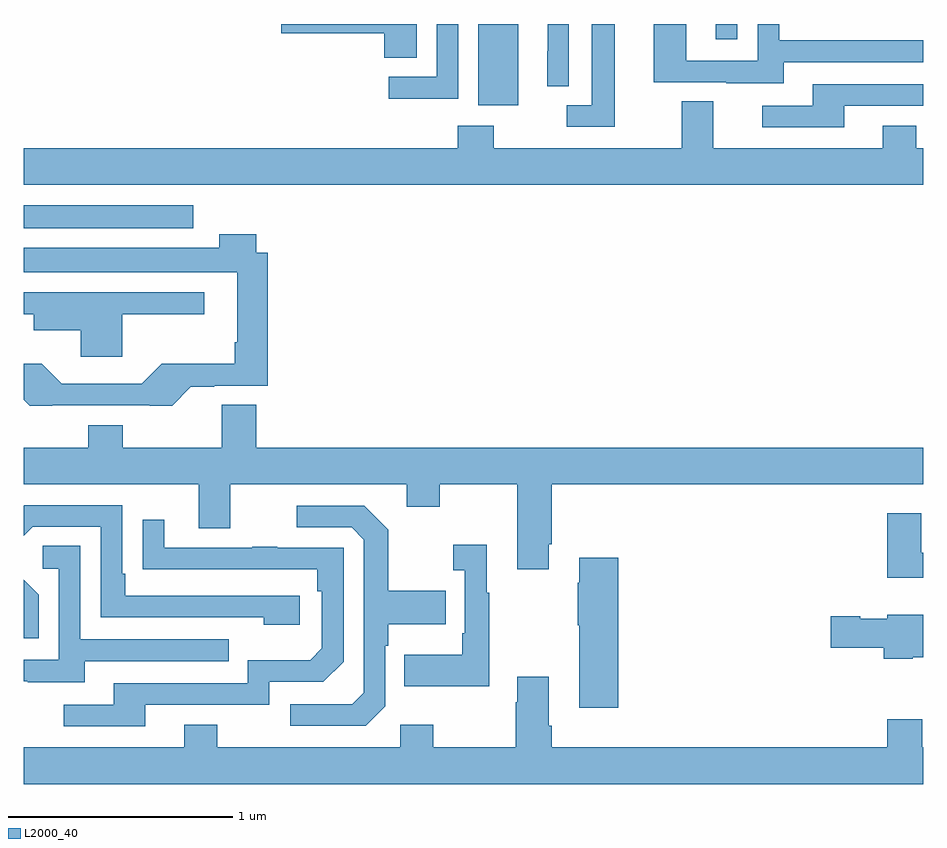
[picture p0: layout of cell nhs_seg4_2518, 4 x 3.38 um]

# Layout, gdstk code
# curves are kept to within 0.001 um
import gdstk
lib = gdstk.Library(unit=1e-6, precision=1e-09)
def R(c, l, rs):  # rectangles x0, y0, x1, y1
    for r in rs: c.add(gdstk.rectangle(r[:2], r[2:], *l))
def P(c, l, *ps):  # polygons
    for p in ps: c.add(gdstk.Polygon(p, *l))
L2000_40 = (2000, 40)

nhs_seg4_2518 = lib.new_cell('nhs_seg4_2518')
R(nhs_seg4_2518, L2000_40, [(243,765.992,243.754,766.093), (245.021,766.538,245.2,766.899), (246.077,766.833,246.174,766.9)])
P(nhs_seg4_2518, L2000_40, [(245.424,766.9),(245.33,766.9),(245.33,766.778),(245.328,766.778),(245.328,766.624),(245.424,766.624)],
  [(244.932,766.9),(244.836,766.9),(244.836,766.665),(244.623,766.665),(244.623,766.567),(244.932,766.567)],
  [(244.747,766.9),(244.146,766.9),(244.146,766.859),(244.604,766.859),(244.604,766.75),(244.747,766.75)],
  [(246.379,766.731),(247,766.731),(247,766.827),(246.36,766.827),(246.36,766.9),(246.264,766.9),(246.264,766.737),(245.946,766.737),(245.946,766.9),(245.801,766.9),(245.801,766.641),(246.125,766.641),(246.125,766.637),(246.379,766.637)],
  [(245.629,766.9),(245.525,766.9),(245.525,766.539),(245.415,766.539),(245.415,766.443),(245.629,766.443)],
  [(246.649,766.536),(247,766.536),(247,766.632),(246.509,766.632),(246.509,766.536),(246.285,766.536),(246.285,766.44),(246.649,766.44)],
  [(247,766.348),(246.969,766.348),(246.969,766.447),(246.821,766.447),(246.821,766.348),(246.067,766.348),(246.067,766.556),(245.927,766.556),(245.927,766.348),(245.091,766.348),(245.091,766.447),(244.931,766.447),(244.931,766.348),(243,766.348),(243,766.184),(247,766.184)],
  [(243.127,765.204),(243.66,765.203),(243.743,765.286),(243.847,765.286),(243.847,765.291),(244.085,765.291),(244.085,765.883),(244.034,765.883),(244.034,765.964),(243.869,765.964),(243.869,765.904),(243,765.904),(243,765.797),(243.95,765.797),(243.95,765.484),(243.938,765.484),(243.938,765.39),(243.613,765.39),(243.524,765.3),(243.168,765.3),(243.08,765.388),(243,765.388),(243,765.23),(243.027,765.203)],
  [(243.437,765.61),(243.802,765.61),(243.802,765.708),(243,765.708),(243,765.61),(243.044,765.61),(243.044,765.539),(243.254,765.539),(243.254,765.42),(243.437,765.42)],
  [(245.335,764.587),(245.348,764.587),(245.348,764.852),(247,764.852),(247,765.016),(244.034,765.016),(244.034,765.206),(243.881,765.206),(243.881,765.016),(243.441,765.016),(243.441,765.115),(243.286,765.115),(243.286,765.016),(243,765.016),(243,764.852),(243.779,764.852),(243.779,764.658),(243.919,764.658),(243.919,764.852),(244.703,764.852),(244.703,764.753),(244.851,764.753),(244.851,764.852),(245.195,764.852),(245.195,764.475),(245.335,764.475)],
  [(244.228,764.358),(243.451,764.358),(243.451,764.455),(243.438,764.455),(243.438,764.76),(243.003,764.76),(243,764.757),(243,764.625),(243.039,764.664),(243.342,764.664),(243.342,764.262),(244.067,764.262),(244.067,764.228),(244.228,764.228)],
  [(244.608,763.866),(244.608,764.135),(244.621,764.135),(244.621,764.231),(244.877,764.231),(244.877,764.379),(244.621,764.379),(244.621,764.651),(244.515,764.757),(244.215,764.757),(244.215,764.661),(244.458,764.661),(244.512,764.607),(244.512,763.926),(244.461,763.875),(244.185,763.875),(244.185,763.779),(244.521,763.779)],
  [(247,764.548),(246.991,764.548),(246.991,764.725),(246.839,764.725),(246.839,764.438),(247,764.438)],
  [(243.541,763.872),(244.092,763.872),(244.092,763.974),(244.332,763.974),(244.422,764.064),(244.422,764.571),(244.127,764.571),(244.127,764.576),(244.015,764.576),(244.015,764.571),(243.625,764.571),(243.625,764.695),(243.529,764.695),(243.529,764.476),(244.306,764.475),(244.306,764.378),(244.326,764.378),(244.326,764.124),(244.273,764.071),(243.996,764.071),(243.996,763.968),(243.401,763.968),(243.401,763.872),(243.177,763.872),(243.177,763.776),(243.541,763.776)],
  [(245.071,764.371),(245.059,764.371),(245.059,764.584),(244.911,764.584),(244.911,764.471),(244.962,764.471),(244.962,764.191),(244.95,764.191),(244.95,764.095),(244.693,764.095),(244.693,763.955),(245.071,763.955)],
  [(243.271,764.067),(243.911,764.067),(243.911,764.163),(243.252,764.163),(243.252,764.579),(243.084,764.579),(243.084,764.478),(243.156,764.478),(243.156,764.073),(243,764.073),(243,763.977),(243.017,763.977),(243.017,763.973),(243.271,763.973)],
  [(245.644,764.527),(245.471,764.527),(245.471,764.414),(245.464,764.414),(245.464,764.225),(245.471,764.225),(245.471,763.86),(245.644,763.86)],
  [(243.066,764.362),(243,764.428),(243,764.169),(243.066,764.169)],
  [(246.954,764.084),(247,764.084),(247,764.272),(246.84,764.272),(246.84,764.254),(246.72,764.254),(246.72,764.267),(246.588,764.267),(246.588,764.125),(246.824,764.125),(246.824,764.078),(246.954,764.078)],
  [(247,763.684),(246.995,763.684),(246.995,763.808),(246.839,763.808),(246.839,763.684),(245.348,763.684),(245.348,763.78),(245.335,763.78),(245.335,763.996),(245.195,763.996),(245.195,763.883),(245.188,763.883),(245.188,763.684),(244.821,763.684),(244.821,763.783),(244.674,763.783),(244.674,763.684),(243.861,763.684),(243.861,763.783),(243.713,763.783),(243.713,763.684),(243,763.684),(243,763.52),(247,763.52)])

lib.write_gds('nhs_seg4_2518.gds')
